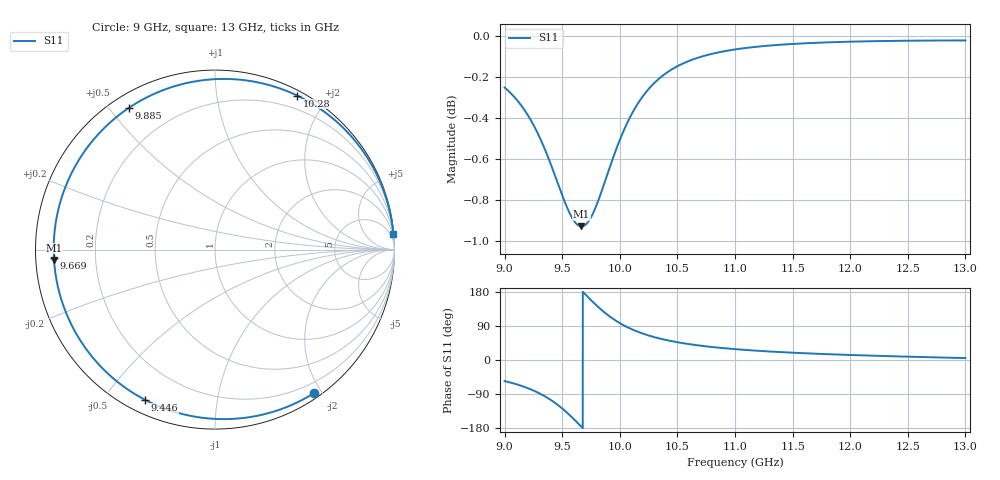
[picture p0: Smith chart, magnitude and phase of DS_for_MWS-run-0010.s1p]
! TOUCHSTONE file generated by CST DESIGN STUDIO
! Date and time: Tue Feb  4 18:19:16 2025
! Project name: C:\Work\MatlabApps\UnitCellOptimizationMatlab\CST\unitcell.cst
! Tree item: Tasks\Sweep1\SPara1\S-Parameters
! Header version: 2024
! Port assignment regex: !\s*Touchstone port\s*([0-9]+)\s*=\s*(CST MWS port|CST DES external port|CST DES block port)\s*(.+)\s* \(\"(.*)\"\)(\s*mode\s*([0-9]+))?.*
! Touchstone port assignment:
! Touchstone port 1 = CST DES external port 1 ("")
# GHz S MA R 50
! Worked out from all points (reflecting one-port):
!   4001 points, 9 GHz to 13 GHz, reference 50 ohm
!   lowest |S11| = -0.9 dB at 9.667 GHz (marker M1), VSWR 18.76, Z = 2.67 - j1.6 ohm
!   phase of S11 starts at -56 deg and turns -299 deg over the sweep
!   S11 on the Smith chart (normalised r, x): 9 GHz: 0.07, -1.90; 9.446 GHz: 0.06, -0.64; 9.669 GHz: 0.05, -0.03; 9.885 GHz: 0.05, +0.56; 10.28 GHz: 0.05, +1.67; 13 GHz: 1, +23
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9  0.9714 -55.5
9.116  0.964 -65.3
9.23  0.9536 -77.9
9.35  0.9384 -95.9
9.446  0.9233 -115.0
9.5  0.9146 -127.9
9.545  0.9079 -139.8
9.592  0.9025 -153.3
9.63  0.8997 -164.8
9.667  0.8988 -176.3
9.669  0.8988 -177.0
9.715  0.9003 168.7
9.763  0.9048 154.1
9.825  0.9137 136.5
9.885  0.9241 121.2
9.94  0.9336 108.9
10  0.9433 97.3
10.062  0.9521 87.1
10.135  0.9606 77.1
10.281  0.9727 61.9
10.384  0.9784 54.0
10.5  0.9831 46.9
10.719  0.9886 37.1
11  0.9923 28.7
11.5  0.9954 19.2
12  0.9967 13.2
12.5  0.9972 8.8
13  0.9973 5.1
